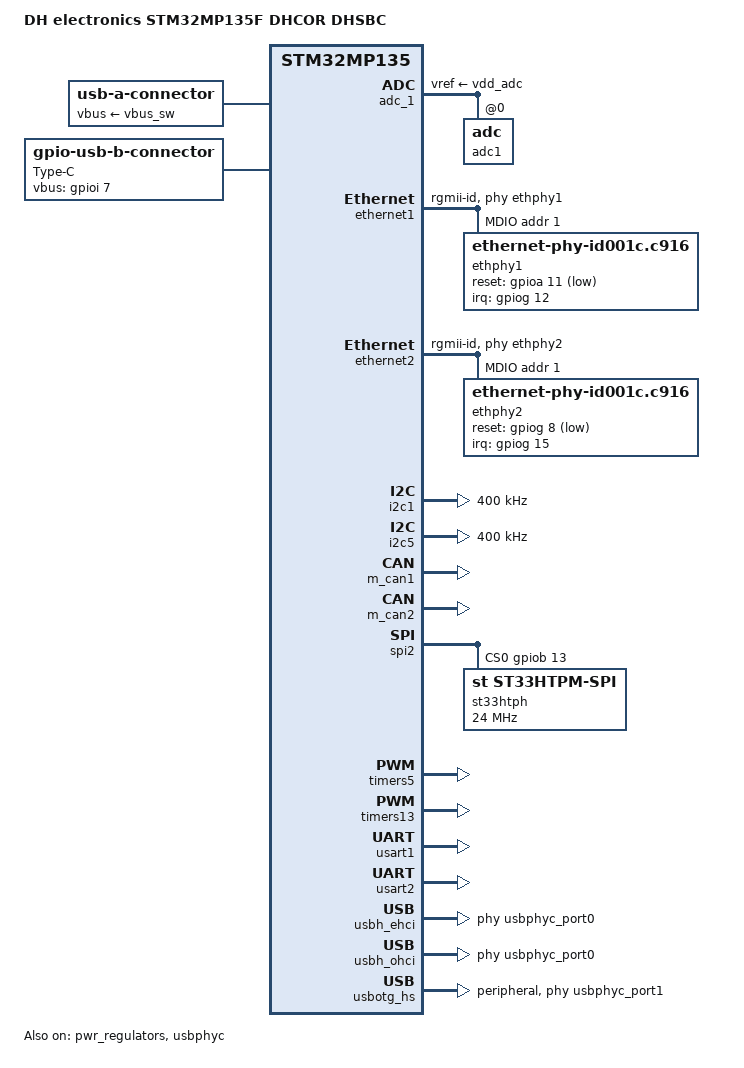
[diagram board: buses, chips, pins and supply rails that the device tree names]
// SPDX-License-Identifier: (GPL-2.0+ OR BSD-3-Clause)
/*
 * Copyright (C) 2024 Marek Vasut <marex@denx.de>
 *
 * DHCOR STM32MP13 variant:
 * DHCR-STM32MP135F-C100-R051-EE-F0409-SPI4-RTC-WBT-I-01LG
 * DHCOR PCB number: 718-100 or newer
 * DHSBC PCB number: 719-100 or newer
 */

/dts-v1/;

#include <dt-bindings/regulator/st,stm32mp13-regulator.h>
#include "stm32mp135.dtsi"
#include "stm32mp13xf.dtsi"
#include "stm32mp13xx-dhcor-som.dtsi"

/ {
	model = "DH electronics STM32MP135F DHCOR DHSBC";
	compatible = "dh,stm32mp135f-dhcor-dhsbc",
		     "dh,stm32mp135f-dhcor-som",
		     "st,stm32mp135";

	aliases {
		ethernet0 = &ethernet1;
		ethernet1 = &ethernet2;
		serial2 = &usart1;
		serial3 = &usart2;
	};

	chosen {
		stdout-path = "serial0:115200n8";
	};
};

&adc_1 {
	pinctrl-names = "default";
	pinctrl-0 = <&adc1_pins_a &adc1_usb_cc_pins_b>;
	vdda-supply = <&vdd_adc>;
	vref-supply = <&vdd_adc>;
	status = "okay";

	adc1: adc@0 {
		status = "okay";

		/*
		 * Type-C USB_PWR_CC1 & USB_PWR_CC2 on in2 & in11.
		 * Use at least 5 * RC time, e.g. 5 * (Rp + Rd) * C:
		 * 5 * (5.1 + 47kOhms) * 5pF => 1.3us.
		 * Use arbitrary margin here (e.g. 5us).
		 *
		 * The pinmux pins must be set as ANALOG, use datasheet
		 * DS13483 Table 7. STM32MP135C/F ball definitions to
		 * find out which 'pin name' maps to which 'additional
		 * functions', which lists the mapping between pin and
		 * ADC channel. In this case, PA5 maps to ADC1_INP2 and
		 * PF13 maps to ADC1_INP11 .
		 */
		channel@2 {
			reg = <2>;
			st,min-sample-time-ns = <5000>;
		};

		channel@11 {
			reg = <11>;
			st,min-sample-time-ns = <5000>;
		};

		/* Expansion connector: INP12:pin29 */
		channel@12 {
			reg = <12>;
			st,min-sample-time-ns = <5000>;
		};
	};
};

&ethernet1 {
	phy-handle = <&ethphy1>;
	phy-mode = "rgmii-id";
	pinctrl-0 = <&eth1_rgmii_pins_a>;
	pinctrl-1 = <&eth1_rgmii_sleep_pins_a>;
	pinctrl-names = "default", "sleep";
	st,ext-phyclk;
	status = "okay";

	mdio {
		#address-cells = <1>;
		#size-cells = <0>;
		compatible = "snps,dwmac-mdio";

		ethphy1: ethernet-phy@1 {
			/* RTL8211F */
			compatible = "ethernet-phy-id001c.c916";
			interrupt-parent = <&gpiog>;
			interrupts = <12 IRQ_TYPE_LEVEL_LOW>;
			reg = <1>;
			reset-assert-us = <15000>;
			reset-deassert-us = <55000>;
			reset-gpios = <&gpioa 11 GPIO_ACTIVE_LOW>;
		};
	};
};

&ethernet2 {
	phy-handle = <&ethphy2>;
	phy-mode = "rgmii-id";
	pinctrl-0 = <&eth2_rgmii_pins_a>;
	pinctrl-1 = <&eth2_rgmii_sleep_pins_a>;
	pinctrl-names = "default", "sleep";
	st,ext-phyclk;
	status = "okay";

	mdio {
		#address-cells = <1>;
		#size-cells = <0>;
		compatible = "snps,dwmac-mdio";

		ethphy2: ethernet-phy@1 {
			/* RTL8211F */
			compatible = "ethernet-phy-id001c.c916";
			interrupt-parent = <&gpiog>;
			interrupts = <15 IRQ_TYPE_LEVEL_LOW>;
			reg = <1>;
			reset-assert-us = <15000>;
			reset-deassert-us = <55000>;
			reset-gpios = <&gpiog 8 GPIO_ACTIVE_LOW>;
		};
	};
};

&gpioa {
	gpio-line-names = "", "", "", "",
			  "", "DHSBC_USB_PWR_CC1", "", "",
			  "", "", "", "DHSBC_nETH1_RST",
			  "", "DHCOR_HW-CODING_0", "", "";
};

&gpiob {
	gpio-line-names = "", "", "", "",
			  "", "", "", "DHCOR_BT_HOST_WAKE",
			  "", "", "", "",
			  "", "DHSBC_nTPM_CS", "", "";
};

&gpioc {
	gpio-line-names = "", "", "", "DHSBC_USB_5V_MEAS",
			  "", "", "", "",
			  "", "", "", "",
			  "", "", "", "";
};

&gpiod {
	gpio-line-names = "", "", "", "",
			  "", "DHCOR_RAM-CODING_0", "", "",
			  "", "DHCOR_RAM-CODING_1", "", "",
			  "", "", "", "";
};

&gpioe {
	gpio-line-names = "", "", "", "",
			  "", "", "", "",
			  "", "DHSBC_nTPM_RST", "", "",
			  "DHSBC_nTPM_PIRQ", "", "DHCOR_WL_HOST_WAKE", "";
};

&gpiof {
	gpio-line-names = "", "", "DHSBC_USB_PWR_nFLT", "",
			  "", "", "", "",
			  "", "", "", "",
			  "DHCOR_WL_REG_ON", "DHSBC_USB_PWR_CC2", "", "";
};

&gpiog {
	gpio-line-names = "", "", "", "",
			  "", "", "", "",
			  "DHSBC_nETH2_RST", "DHCOR_BT_DEV_WAKE", "", "",
			  "DHSBC_ETH1_INTB", "", "", "DHSBC_ETH2_INTB";
};

&gpioi {
	gpio-line-names = "DHCOR_RTC_nINT", "DHCOR_HW-CODING_1",
			  "DHCOR_BT_REG_ON", "DHCOR_PMIC_nINT",
			  "DHSBC_BOOT0", "DHSBC_BOOT1",
			  "DHSBC_BOOT2", "DHSBC_USB-C_DATA_VBUS";
};

&i2c1 { /* Expansion connector: SDA:pin27 SCL:pin28 */
	pinctrl-names = "default", "sleep";
	pinctrl-0 = <&i2c1_pins_a>;
	pinctrl-1 = <&i2c1_sleep_pins_a>;
	i2c-scl-rising-time-ns = <96>;
	i2c-scl-falling-time-ns = <3>;
	clock-frequency = <400000>;
	status = "okay";
	/* spare dmas for other usage */
	/delete-property/dmas;
	/delete-property/dma-names;
};

&i2c5 { /* Expansion connector: SDA:pin3 SCL:pin5 */
	pinctrl-names = "default", "sleep";
	pinctrl-0 = <&i2c5_pins_b>;
	pinctrl-1 = <&i2c5_sleep_pins_b>;
	i2c-scl-rising-time-ns = <96>;
	i2c-scl-falling-time-ns = <3>;
	clock-frequency = <400000>;
	status = "okay";
	/* spare dmas for other usage */
	/delete-property/dmas;
	/delete-property/dma-names;
};

&m_can1 { /* Expansion connector: TX:pin16 RX:pin18 */
	pinctrl-names = "default", "sleep";
	pinctrl-0 = <&m_can1_pins_a>;
	pinctrl-1 = <&m_can1_sleep_pins_a>;
	status = "okay";
};

&m_can2 { /* Expansion connector: TX:pin22 RX:pin26 */
	pinctrl-names = "default", "sleep";
	pinctrl-0 = <&m_can2_pins_a>;
	pinctrl-1 = <&m_can2_sleep_pins_a>;
	status = "okay";
};

&pwr_regulators {
	vdd-supply = <&vdd>;
	vdd_3v3_usbfs-supply = <&vdd_usb>;
	status = "okay";
};

&sai1 { /* Expansion connector: SCK-A:pin12 FS-A:pin35 SD-A:pin38 SD-B:pin40 */
	clocks = <&rcc SAI1>, <&rcc PLL3_Q>, <&rcc PLL3_R>;
	clock-names = "pclk", "x8k", "x11k";
	pinctrl-names = "default", "sleep";
	pinctrl-0 = <&sai1a_pins_a &sai1b_pins_a>;
	pinctrl-1 = <&sai1a_sleep_pins_a &sai1b_sleep_pins_a>;
};

&scmi_voltd {
	status = "disabled";
};

&spi2 {
	pinctrl-names = "default", "sleep";
	pinctrl-0 = <&spi2_pins_a>;
	pinctrl-1 = <&spi2_sleep_pins_a>;
	cs-gpios = <&gpiob 13 0>;
	status = "okay";

	st33htph: tpm@0 {
		compatible = "st,st33htpm-spi", "tcg,tpm_tis-spi";
		reg = <0>;
		spi-max-frequency = <24000000>;
	};
};

&spi3 { /* Expansion connector: MOSI:pin19 MISO:pin21 SCK:pin22 nCS:pin24 */
	pinctrl-names = "default", "sleep";
	pinctrl-0 = <&spi3_pins_a>;
	pinctrl-1 = <&spi3_sleep_pins_a>;
	cs-gpios = <&gpiof 3 0>;
	status = "disabled";
};

&timers5 { /* Expansion connector: CH3:pin31 */
	/delete-property/dmas;
	/delete-property/dma-names;
	status = "okay";

	pwm {
		pinctrl-0 = <&pwm5_pins_a>;
		pinctrl-1 = <&pwm5_sleep_pins_a>;
		pinctrl-names = "default", "sleep";
		status = "okay";
	};
	timer@4 {
		status = "okay";
	};
};

&timers13 { /* Expansion connector: CH1:pin32 */
	/delete-property/dmas;
	/delete-property/dma-names;
	status = "okay";

	pwm {
		pinctrl-0 = <&pwm13_pins_a>;
		pinctrl-1 = <&pwm13_sleep_pins_a>;
		pinctrl-names = "default", "sleep";
		status = "okay";
	};
	timer@12 {
		status = "okay";
	};
};

&usart1 { /* Expansion connector: RX:pin33 TX:pin37 */
	pinctrl-names = "default", "sleep", "idle";
	pinctrl-0 = <&usart1_pins_b>;
	pinctrl-1 = <&usart1_sleep_pins_b>;
	pinctrl-2 = <&usart1_idle_pins_b>;
	status = "okay";
};

&usart2 { /* Expansion connector: RX:pin10 TX:pin8 RTS:pin11 CTS:pin36 */
	pinctrl-names = "default", "sleep", "idle";
	pinctrl-0 = <&usart2_pins_b>;
	pinctrl-1 = <&usart2_sleep_pins_b>;
	pinctrl-2 = <&usart2_idle_pins_b>;
	uart-has-rtscts;
	status = "okay";
};

&usbh_ehci {
	phys = <&usbphyc_port0>;
	status = "okay";
};

&usbh_ohci {
	phys = <&usbphyc_port0>;
	status = "okay";
};

&usbotg_hs {
	dr_mode = "peripheral";
	phys = <&usbphyc_port1 0>;
	phy-names = "usb2-phy";
	usb33d-supply = <&usb33>;
	status = "okay";
};

&usbphyc {
	status = "okay";
	vdda1v1-supply = <&reg11>;
	vdda1v8-supply = <&reg18>;
};

&usbphyc_port0 {
	phy-supply = <&vdd_usb>;
	st,current-boost-microamp = <1000>;
	st,decrease-hs-slew-rate;
	st,tune-hs-dc-level = <2>;
	st,enable-hs-rftime-reduction;
	st,trim-hs-current = <11>;
	st,trim-hs-impedance = <2>;
	st,tune-squelch-level = <1>;
	st,enable-hs-rx-gain-eq;
	st,no-hs-ftime-ctrl;
	st,no-lsfs-sc;
	connector {
		compatible = "usb-a-connector";
		vbus-supply = <&vbus_sw>;
	};
};

&usbphyc_port1 {
	phy-supply = <&vdd_usb>;
	st,current-boost-microamp = <1000>;
	st,decrease-hs-slew-rate;
	st,tune-hs-dc-level = <2>;
	st,enable-hs-rftime-reduction;
	st,trim-hs-current = <11>;
	st,trim-hs-impedance = <2>;
	st,tune-squelch-level = <1>;
	st,enable-hs-rx-gain-eq;
	st,no-hs-ftime-ctrl;
	st,no-lsfs-sc;
	connector {
		compatible = "gpio-usb-b-connector", "usb-b-connector";
		vbus-gpios = <&gpioi 7 GPIO_ACTIVE_HIGH>;
		label = "Type-C";
		self-powered;
		type = "micro";
	};
};
